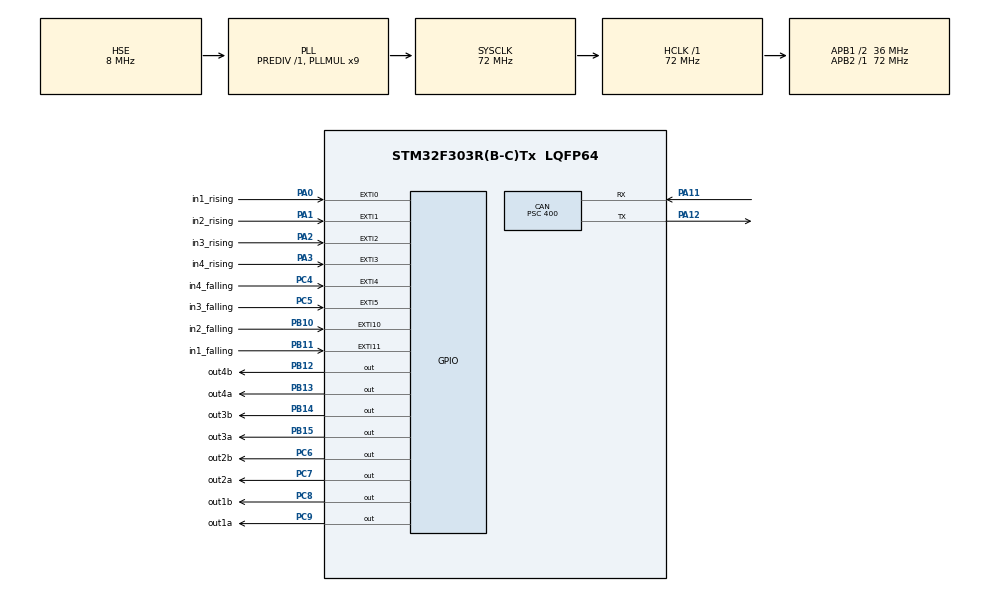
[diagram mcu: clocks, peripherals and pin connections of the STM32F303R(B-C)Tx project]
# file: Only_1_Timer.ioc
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CAN.BS1=CAN_BS1_12TQ
CAN.BS2=CAN_BS2_5TQ
CAN.CalculateTimeQuantum=11111.111111111111
CAN.Prescaler=400
Mcu.Family=STM32F3
Mcu.Name=STM32F303R(B-C)Tx
Mcu.Package=LQFP64
NVIC.EXTI0_IRQn=true\:0\:0\:false\:false\:true\:true
NVIC.EXTI15_10_IRQn=true\:0\:0\:false\:false\:true\:true
NVIC.EXTI1_IRQn=true\:0\:0\:false\:false\:true\:true
NVIC.EXTI2_TSC_IRQn=true\:0\:0\:false\:false\:true\:true
NVIC.EXTI3_IRQn=true\:0\:0\:false\:false\:true\:true
NVIC.EXTI4_IRQn=true\:0\:0\:false\:false\:true\:true
NVIC.EXTI9_5_IRQn=true\:0\:0\:false\:false\:true\:true
NVIC.PriorityGroup=NVIC_PRIORITYGROUP_4
NVIC.TIM1_UP_TIM16_IRQn=true\:0\:0\:false\:false\:true\:true
NVIC.TIM2_IRQn=true\:0\:0\:false\:false\:true\:true
NVIC.USB_LP_CAN_RX0_IRQn=true\:0\:0\:false\:false\:true\:true
PA0.GPIO_Label=in1_rising
PA0.GPIO_ModeDefaultEXTI=GPIO_MODE_IT_RISING
PA0.GPIO_PuPd=GPIO_PULLDOWN
PA0.Signal=GPXTI0
PA1.GPIO_Label=in2_rising
PA1.GPIO_ModeDefaultEXTI=GPIO_MODE_IT_RISING
PA1.GPIO_PuPd=GPIO_PULLDOWN
PA1.Signal=GPXTI1
PA11.Mode=Master
PA11.Signal=CAN_RX
PA12.Mode=Master
PA12.Signal=CAN_TX
PA13.Mode=Serial_Wire
PA13.Signal=SYS_JTMS-SWDIO
PA14.Mode=Serial_Wire
PA14.Signal=SYS_JTCK-SWCLK
PA2.GPIO_Label=in3_rising
PA2.GPIO_ModeDefaultEXTI=GPIO_MODE_IT_RISING
PA2.GPIO_PuPd=GPIO_PULLDOWN
PA2.Signal=GPXTI2
PA3.GPIO_Label=in4_rising
PA3.GPIO_ModeDefaultEXTI=GPIO_MODE_IT_RISING
PA3.GPIO_PuPd=GPIO_PULLDOWN
PA3.Signal=GPXTI3
PB10.GPIO_Label=in2_falling
PB10.GPIO_ModeDefaultEXTI=GPIO_MODE_IT_FALLING
PB10.Signal=GPXTI10
PB11.GPIO_Label=in1_falling
PB11.GPIO_ModeDefaultEXTI=GPIO_MODE_IT_FALLING
PB11.Signal=GPXTI11
PB12.GPIO_Label=out4b
PB12.Signal=GPIO_Output
PB13.GPIO_Label=out4a
PB13.Signal=GPIO_Output
PB14.GPIO_Label=out3b
PB14.Signal=GPIO_Output
PB15.GPIO_Label=out3a
PB15.Signal=GPIO_Output
PC4.GPIO_Label=in4_falling
PC4.GPIO_ModeDefaultEXTI=GPIO_MODE_IT_FALLING
PC4.Signal=GPXTI4
PC5.GPIO_Label=in3_falling
PC5.GPIO_ModeDefaultEXTI=GPIO_MODE_IT_FALLING
PC5.Signal=GPXTI5
PC6.GPIO_Label=out2b
PC6.Signal=GPIO_Output
PC7.GPIO_Label=out2a
PC7.Signal=GPIO_Output
PC8.GPIO_Label=out1b
PC8.Signal=GPIO_Output
PC9.GPIO_Label=out1a
PC9.Signal=GPIO_Output
PF0-OSC_IN.Mode=HSE-External-Oscillator
PF0-OSC_IN.Signal=RCC_OSC_IN
PF1-OSC_OUT.Mode=HSE-External-Oscillator
PF1-OSC_OUT.Signal=RCC_OSC_OUT
ProjectManager.HeapSize=0x200
ProjectManager.StackSize=0x400
ProjectManager.TargetToolchain=MDK-ARM V5
RCC.AHBFreq_Value=72000000
RCC.APB1CLKDivider=RCC_HCLK_DIV2
RCC.APB1Freq_Value=36000000
RCC.APB1TimFreq_Value=72000000
RCC.APB2Freq_Value=72000000
RCC.APB2TimFreq_Value=72000000
RCC.CortexFreq_Value=72000000
RCC.HCLKFreq_Value=72000000
RCC.HSE_VALUE=8000000
RCC.HSI_VALUE=8000000
RCC.LSE_VALUE=32768
RCC.PLLMUL=RCC_PLL_MUL9
RCC.PLLSourceVirtual=RCC_PLLSOURCE_HSE
RCC.SYSCLKFreq_VALUE=72000000
RCC.SYSCLKSourceVirtual=RCC_SYSCLKSOURCE_PLLCLK
RCC.USBFreq_Value=72000000
TIM1.Period=79
TIM1.Prescaler=8
TIM2.Period=79
TIM2.Prescaler=8
VP_TIM1_VS_ClockSourceINT.Mode=Internal
VP_TIM2_VS_ClockSourceINT.Mode=Internal
board=Only_1_Timer

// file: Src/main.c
/**
  ******************************************************************************
    @file           : main.c
    @brief          : Main program body
  ******************************************************************************
  ** This notice applies to any and all portions of this file
    that are not between comment pairs USER CODE BEGIN and
    USER CODE END. Other portions of this file, whether
    inserted by the user or by software development tools
    are owned by their respective copyright owners.

    COPYRIGHT(c) 2019 STMicroelectronics

    Redistribution and use in source and binary forms, with or without modification,
    are permitted provided that the following conditions are met:
      1. Redistributions of source code must retain the above copyright notice,
         this list of conditions and the following disclaimer.
      2. Redistributions in binary form must reproduce the above copyright notice,
         this list of conditions and the following disclaimer in the documentation
         and/or other materials provided with the distribution.
      3. Neither the name of STMicroelectronics nor the names of its contributors
         may be used to endorse or promote products derived from this software
         without specific prior written permission.

    THIS SOFTWARE IS PROVIDED BY THE COPYRIGHT HOLDERS AND CONTRIBUTORS "AS IS"
    AND ANY EXPRESS OR IMPLIED WARRANTIES, INCLUDING, BUT NOT LIMITED TO, THE
    IMPLIED WARRANTIES OF MERCHANTABILITY AND FITNESS FOR A PARTICULAR PURPOSE ARE
    DISCLAIMED. IN NO EVENT SHALL THE COPYRIGHT HOLDER OR CONTRIBUTORS BE LIABLE
    FOR ANY DIRECT, INDIRECT, INCIDENTAL, SPECIAL, EXEMPLARY, OR CONSEQUENTIAL
    DAMAGES (INCLUDING, BUT NOT LIMITED TO, PROCUREMENT OF SUBSTITUTE GOODS OR
    SERVICES; LOSS OF USE, DATA, OR PROFITS; OR BUSINESS INTERRUPTION) HOWEVER
    CAUSED AND ON ANY THEORY OF LIABILITY, WHETHER IN CONTRACT, STRICT LIABILITY,
    OR TORT (INCLUDING NEGLIGENCE OR OTHERWISE) ARISING IN ANY WAY OUT OF THE USE
    OF THIS SOFTWARE, EVEN IF ADVISED OF THE POSSIBILITY OF SUCH DAMAGE.

  ******************************************************************************
*/
#include "main.h"
#include "stm32f3xx_hal.h"

/* USER CODE BEGIN Includes */
#define pattern_a 1
#define pattern_b 0
/* USER CODE END Includes */

CAN_HandleTypeDef hcan;

TIM_HandleTypeDef htim1;
TIM_HandleTypeDef htim2;

/* USER CODE BEGIN PV */
/* Private variables ---------------------------------------------------------*/
CanRxMsgTypeDef CanRx;
CAN_FilterConfTypeDef sFilterConfig;
uint8_t can_rx_int1 = 0;
uint8_t can_rx_int2 = 0;
uint8_t can_rx_int3 = 0;
uint8_t can_rx_int4 = 0;

//package 1
uint8_t n1, n2;
uint16_t B, C, D;
uint8_t B_H, B_L, C_H, C_L, D_H, D_L;

//package 2
uint16_t B1, C1, B2;
uint8_t B1_H, B1_L, C1_H, C1_L, B2_H, B2_L;

//package 3
uint16_t D1;
uint32_t E;
uint8_t D1_H, D1_L, E_HH, E_H, E_L;

//package 4
uint16_t D2, C2;
uint8_t D2_H, D2_L, C2_H, C2_L;
uint8_t choose_mode;

uint8_t flag_in1_falling_a_tim1 = 0;
uint8_t flag_in1_falling_b_tim1 = 0;
uint8_t flag_in1_rising_a_tim1 = 0;
uint8_t flag_in1_rising_b_tim1 = 0;
uint8_t flag_in1_falling_a_tim2 = 0;
uint8_t flag_in1_falling_b_tim2 = 0;
uint8_t flag_in1_rising_a_tim2 = 0;
uint8_t flag_in1_rising_b_tim2 = 0;

uint8_t flag_in2_falling_a_tim1 = 0;
uint8_t flag_in2_falling_b_tim1 = 0;
uint8_t flag_in2_rising_a_tim1 = 0;
uint8_t flag_in2_rising_b_tim1 = 0;
uint8_t flag_in2_falling_a_tim2 = 0;
uint8_t flag_in2_falling_b_tim2 = 0;
uint8_t flag_in2_rising_a_tim2 = 0;
uint8_t flag_in2_rising_b_tim2 = 0;

uint8_t flag_in3_falling_a_tim1 = 0;
uint8_t flag_in3_falling_b_tim1 = 0;
uint8_t flag_in3_rising_a_tim1 = 0;
uint8_t flag_in3_rising_b_tim1 = 0;
uint8_t flag_in3_falling_a_tim2 = 0;
uint8_t flag_in3_falling_b_tim2 = 0;
uint8_t flag_in3_rising_a_tim2 = 0;
uint8_t flag_in3_rising_b_tim2 = 0;

uint8_t flag_in4_falling_a_tim1 = 0;
uint8_t flag_in4_falling_b_tim1 = 0;
uint8_t flag_in4_rising_a_tim1 = 0;
uint8_t flag_in4_rising_b_tim1 = 0;
uint8_t flag_in4_falling_a_tim2 = 0;
uint8_t flag_in4_falling_b_tim2 = 0;
uint8_t flag_in4_rising_a_tim2 = 0;
uint8_t flag_in4_rising_b_tim2 = 0;

uint16_t counter_out1a_tim1 = 0;
uint16_t counter_out1b_tim1_before = 0;
uint16_t counter_out1b_tim1_after = 0;
uint16_t counter_out1a_tim2 = 0;
uint16_t counter_out1b_tim2 = 0;

uint16_t counter_out2a_tim1 = 0;
uint16_t counter_out2b_tim1_before = 0;
uint16_t counter_out2b_tim1_after = 0;
uint16_t counter_out2a_tim2 = 0;
uint16_t counter_out2b_tim2 = 0;

uint16_t counter_out3a_tim1 = 0;
uint16_t counter_out3b_tim1_before = 0;
uint16_t counter_out3b_tim1_after = 0;
uint16_t counter_out3a_tim2 = 0;
uint16_t counter_out3b_tim2 = 0;

uint16_t counter_out4a_tim1 = 0;
uint16_t counter_out4b_tim1_before = 0;
uint16_t counter_out4b_tim1_after = 0;
uint16_t counter_out4a_tim2 = 0;
uint16_t counter_out4b_tim2 = 0;

uint8_t n1_times_tim1_in1 = 0;
uint8_t n2_times_tim1_in1 = 0;
uint8_t n1_times_tim2_in1 = 0;
uint8_t n2_times_tim2_in1 = 0;

uint8_t n1_times_tim1_in2 = 0;
uint8_t n2_times_tim1_in2 = 0;
uint8_t n1_times_tim2_in2 = 0;
uint8_t n2_times_tim2_in2 = 0;

uint8_t n1_times_tim1_in3 = 0;
uint8_t n2_times_tim1_in3 = 0;
uint8_t n1_times_tim2_in3 = 0;
uint8_t n2_times_tim2_in3 = 0;

uint8_t n1_times_tim1_in4 = 0;
uint8_t n2_times_tim1_in4 = 0;
uint8_t n1_times_tim2_in4 = 0;
uint8_t n2_times_tim2_in4 = 0;

/* USER CODE END PV */

void SystemClock_Config(void);
static void MX_GPIO_Init(void);
static void MX_CAN_Init(void);
static void MX_TIM1_Init(void);
static void MX_TIM2_Init(void);

/* USER CODE BEGIN PFP */
/* Private function prototypes -----------------------------------------------*/
static void CAN_FilterConfig(void);
/* USER CODE END PFP */

int main(void)
{

  /* MCU Configuration----------------------------------------------------------*/

  /* Reset of all peripherals, Initializes the Flash interface and the Systick. */
  HAL_Init();

  /* Configure the system clock */
  SystemClock_Config();

  /* Initialize all configured peripherals */
  MX_GPIO_Init();
  MX_CAN_Init();
  MX_TIM1_Init();
  MX_TIM2_Init();
  /* USER CODE BEGIN 2 */

  hcan.pRxMsg = &CanRx;
  CAN_FilterConfig();
  if (HAL_CAN_Receive_IT(&hcan, CAN_FIFO0) != HAL_OK)
  {
    Error_Handler();
  }
  HAL_NVIC_DisableIRQ(in1_falling_EXTI_IRQn);
  HAL_NVIC_DisableIRQ(in1_rising_EXTI_IRQn);
  HAL_NVIC_DisableIRQ(in2_falling_EXTI_IRQn);
  HAL_NVIC_DisableIRQ(in2_rising_EXTI_IRQn);
  HAL_NVIC_DisableIRQ(in3_falling_EXTI_IRQn);
  HAL_NVIC_DisableIRQ(in3_rising_EXTI_IRQn);
  HAL_NVIC_DisableIRQ(in4_falling_EXTI_IRQn);
  HAL_NVIC_DisableIRQ(in4_rising_EXTI_IRQn);
  /* USER CODE END 2 */

  /* Infinite loop */
  /* USER CODE BEGIN WHILE */
  while (1)
  {
    if (can_rx_int1 == 1 && can_rx_int2 == 1 && can_rx_int3 == 1 && can_rx_int4 == 1)
    {
      __HAL_GPIO_EXTI_CLEAR_IT(in1_falling_Pin);
      __HAL_GPIO_EXTI_CLEAR_IT(in1_rising_Pin);
      __HAL_GPIO_EXTI_CLEAR_IT(in2_falling_Pin);
      __HAL_GPIO_EXTI_CLEAR_IT(in2_rising_Pin);
      __HAL_GPIO_EXTI_CLEAR_IT(in3_falling_Pin);
      __HAL_GPIO_EXTI_CLEAR_IT(in3_rising_Pin);
      __HAL_GPIO_EXTI_CLEAR_IT(in4_falling_Pin);
      __HAL_GPIO_EXTI_CLEAR_IT(in4_rising_Pin);

      HAL_NVIC_EnableIRQ(in1_falling_EXTI_IRQn);
      HAL_NVIC_EnableIRQ(in1_rising_EXTI_IRQn);
      HAL_NVIC_EnableIRQ(in2_falling_EXTI_IRQn);
      HAL_NVIC_EnableIRQ(in2_rising_EXTI_IRQn);
      HAL_NVIC_EnableIRQ(in3_falling_EXTI_IRQn);
      HAL_NVIC_EnableIRQ(in3_rising_EXTI_IRQn);
      HAL_NVIC_EnableIRQ(in4_falling_EXTI_IRQn);
      HAL_NVIC_EnableIRQ(in4_rising_EXTI_IRQn);

      can_rx_int1 = 0;
      can_rx_int2 = 0;
      can_rx_int3 = 0;
      can_rx_int4 = 0;

      //n1 = n1,n2 = n2
      B = (B_H << 8) | B_L;
      C = (C_H << 8) | C_L;
      D = (D_H << 8) | D_L;

      B1 = (B1_H << 8) | B1_L;
      C1 = (C1_H << 8) | C1_L;
      B2 = (B2_H << 8) | B2_L;

      D1 = (D1_H << 8) | D1_L;
      E = (E_HH << 16) | (E_H << 8) | E_L;

      D2 = (D2_H << 8) | D2_L;
      C2 = (C2_H << 8) | C2_L;
      //choose_mode = choose_mode

    }
    if (choose_mode == pattern_a)
    {
      HAL_TIM_Base_Start_IT(&htim1);
      HAL_TIM_Base_Stop_IT(&htim2);
    }
    if (choose_mode == pattern_b)
    {
      HAL_TIM_Base_Start_IT(&htim2);
      HAL_TIM_Base_Stop_IT(&htim1);
    }
    /* USER CODE END WHILE */

  }

}

void SystemClock_Config(void)
{

  RCC_OscInitTypeDef RCC_OscInitStruct;
  RCC_ClkInitTypeDef RCC_ClkInitStruct;
  RCC_PeriphCLKInitTypeDef PeriphClkInit;

  /**Initializes the CPU, AHB and APB busses clocks
  */
  RCC_OscInitStruct.OscillatorType = RCC_OSCILLATORTYPE_HSE;
  RCC_OscInitStruct.HSEState = RCC_HSE_ON;
  RCC_OscInitStruct.HSEPredivValue = RCC_HSE_PREDIV_DIV1;
  RCC_OscInitStruct.HSIState = RCC_HSI_ON;
  RCC_OscInitStruct.PLL.PLLState = RCC_PLL_ON;
  RCC_OscInitStruct.PLL.PLLSource = RCC_PLLSOURCE_HSE;
  RCC_OscInitStruct.PLL.PLLMUL = RCC_PLL_MUL9;
  if (HAL_RCC_OscConfig(&RCC_OscInitStruct) != HAL_OK)
  {
    _Error_Handler(__FILE__, __LINE__);
  }

  /**Initializes the CPU, AHB and APB busses clocks
  */
  RCC_ClkInitStruct.ClockType = RCC_CLOCKTYPE_HCLK | RCC_CLOCKTYPE_SYSCLK
                                | RCC_CLOCKTYPE_PCLK1 | RCC_CLOCKTYPE_PCLK2;
  RCC_ClkInitStruct.SYSCLKSource = RCC_SYSCLKSOURCE_PLLCLK;
  RCC_ClkInitStruct.AHBCLKDivider = RCC_SYSCLK_DIV1;
  RCC_ClkInitStruct.APB1CLKDivider = RCC_HCLK_DIV2;
  RCC_ClkInitStruct.APB2CLKDivider = RCC_HCLK_DIV1;

  if (HAL_RCC_ClockConfig(&RCC_ClkInitStruct, FLASH_LATENCY_2) != HAL_OK)
  {
    _Error_Handler(__FILE__, __LINE__);
  }

  PeriphClkInit.PeriphClockSelection = RCC_PERIPHCLK_TIM1;
  PeriphClkInit.Tim1ClockSelection = RCC_TIM1CLK_HCLK;
  if (HAL_RCCEx_PeriphCLKConfig(&PeriphClkInit) != HAL_OK)
  {
    _Error_Handler(__FILE__, __LINE__);
  }

  /**Configure the Systick interrupt time
  */
  HAL_SYSTICK_Config(HAL_RCC_GetHCLKFreq() / 1000);

  /**Configure the Systick
  */
  HAL_SYSTICK_CLKSourceConfig(SYSTICK_CLKSOURCE_HCLK);

  /* SysTick_IRQn interrupt configuration */
  HAL_NVIC_SetPriority(SysTick_IRQn, 0, 0);
}

/* CAN init function */
static void MX_CAN_Init(void)
{

  hcan.Instance = CAN;
  hcan.Init.Prescaler = 400;
  hcan.Init.Mode = CAN_MODE_NORMAL;
  hcan.Init.SJW = CAN_SJW_1TQ;
  hcan.Init.BS1 = CAN_BS1_12TQ;
  hcan.Init.BS2 = CAN_BS2_5TQ;
  hcan.Init.TTCM = DISABLE;
  hcan.Init.ABOM = DISABLE;
  hcan.Init.AWUM = DISABLE;
  hcan.Init.NART = DISABLE;
  hcan.Init.RFLM = DISABLE;
  hcan.Init.TXFP = DISABLE;
  if (HAL_CAN_Init(&hcan) != HAL_OK)
  {
    _Error_Handler(__FILE__, __LINE__);
  }

}

/* TIM1 init function */
static void MX_TIM1_Init(void)
{

  TIM_ClockConfigTypeDef sClockSourceConfig;
  TIM_MasterConfigTypeDef sMasterConfig;

  htim1.Instance = TIM1;
  htim1.Init.Prescaler = 8;
  htim1.Init.CounterMode = TIM_COUNTERMODE_UP;
  htim1.Init.Period = 79;
  htim1.Init.ClockDivision = TIM_CLOCKDIVISION_DIV1;
  htim1.Init.RepetitionCounter = 0;
  htim1.Init.AutoReloadPreload = TIM_AUTORELOAD_PRELOAD_DISABLE;
  if (HAL_TIM_Base_Init(&htim1) != HAL_OK)
  {
    _Error_Handler(__FILE__, __LINE__);
  }

  sClockSourceConfig.ClockSource = TIM_CLOCKSOURCE_INTERNAL;
  if (HAL_TIM_ConfigClockSource(&htim1, &sClockSourceConfig) != HAL_OK)
  {
    _Error_Handler(__FILE__, __LINE__);
  }

  sMasterConfig.MasterOutputTrigger = TIM_TRGO_RESET;
  sMasterConfig.MasterOutputTrigger2 = TIM_TRGO2_RESET;
  sMasterConfig.MasterSlaveMode = TIM_MASTERSLAVEMODE_DISABLE;
  if (HAL_TIMEx_MasterConfigSynchronization(&htim1, &sMasterConfig) != HAL_OK)
  {
    _Error_Handler(__FILE__, __LINE__);
  }

}

/* TIM2 init function */
static void MX_TIM2_Init(void)
{

  TIM_ClockConfigTypeDef sClockSourceConfig;
  TIM_MasterConfigTypeDef sMasterConfig;

  htim2.Instance = TIM2;
  htim2.Init.Prescaler = 8;
  htim2.Init.CounterMode = TIM_COUNTERMODE_UP;
  htim2.Init.Period = 79;
  htim2.Init.ClockDivision = TIM_CLOCKDIVISION_DIV1;
  htim2.Init.AutoReloadPreload = TIM_AUTORELOAD_PRELOAD_DISABLE;
  if (HAL_TIM_Base_Init(&htim2) != HAL_OK)
  {
    _Error_Handler(__FILE__, __LINE__);
  }

  sClockSourceConfig.ClockSource = TIM_CLOCKSOURCE_INTERNAL;
  if (HAL_TIM_ConfigClockSource(&htim2, &sClockSourceConfig) != HAL_OK)
  {
    _Error_Handler(__FILE__, __LINE__);
  }

  sMasterConfig.MasterOutputTrigger = TIM_TRGO_RESET;
  sMasterConfig.MasterSlaveMode = TIM_MASTERSLAVEMODE_DISABLE;
  if (HAL_TIMEx_MasterConfigSynchronization(&htim2, &sMasterConfig) != HAL_OK)
  {
    _Error_Handler(__FILE__, __LINE__);
  }

}

/** Configure pins as
          Analog
          Input
          Output
          EVENT_OUT
          EXTI
*/
static void MX_GPIO_Init(void)
{

  GPIO_InitTypeDef GPIO_InitStruct;

  /* GPIO Ports Clock Enable */
  __HAL_RCC_GPIOF_CLK_ENABLE();
  __HAL_RCC_GPIOA_CLK_ENABLE();
  __HAL_RCC_GPIOC_CLK_ENABLE();
  __HAL_RCC_GPIOB_CLK_ENABLE();

  /*Configure GPIO pin Output Level */
  HAL_GPIO_WritePin(GPIOB, out4b_Pin | out4a_Pin | out3b_Pin | out3a_Pin, GPIO_PIN_RESET);

  /*Configure GPIO pin Output Level */
  HAL_GPIO_WritePin(GPIOC, out2b_Pin | out2a_Pin | out1b_Pin | out1a_Pin, GPIO_PIN_RESET);

  /*Configure GPIO pins : in1_rising_Pin in2_rising_Pin in3_rising_Pin in4_rising_Pin */
  GPIO_InitStruct.Pin = in1_rising_Pin | in2_rising_Pin | in3_rising_Pin | in4_rising_Pin;
  GPIO_InitStruct.Mode = GPIO_MODE_IT_RISING;
  GPIO_InitStruct.Pull = GPIO_PULLDOWN;
  HAL_GPIO_Init(GPIOA, &GPIO_InitStruct);

  /*Configure GPIO pins : in4_falling_Pin in3_falling_Pin */
  GPIO_InitStruct.Pin = in4_falling_Pin | in3_falling_Pin;
  GPIO_InitStruct.Mode = GPIO_MODE_IT_FALLING;
  GPIO_InitStruct.Pull = GPIO_NOPULL;
  HAL_GPIO_Init(GPIOC, &GPIO_InitStruct);

  /*Configure GPIO pins : in2_falling_Pin in1_falling_Pin */
  GPIO_InitStruct.Pin = in2_falling_Pin | in1_falling_Pin;
  GPIO_InitStruct.Mode = GPIO_MODE_IT_FALLING;
  GPIO_InitStruct.Pull = GPIO_NOPULL;
  HAL_GPIO_Init(GPIOB, &GPIO_InitStruct);

  /*Configure GPIO pins : out4b_Pin out4a_Pin out3b_Pin out3a_Pin */
  GPIO_InitStruct.Pin = out4b_Pin | out4a_Pin | out3b_Pin | out3a_Pin;
  GPIO_InitStruct.Mode = GPIO_MODE_OUTPUT_PP;
  GPIO_InitStruct.Pull = GPIO_NOPULL;
  GPIO_InitStruct.Speed = GPIO_SPEED_FREQ_LOW;
  HAL_GPIO_Init(GPIOB, &GPIO_InitStruct);

  /*Configure GPIO pins : out2b_Pin out2a_Pin out1b_Pin out1a_Pin */
  GPIO_InitStruct.Pin = out2b_Pin | out2a_Pin | out1b_Pin | out1a_Pin;
  GPIO_InitStruct.Mode = GPIO_MODE_OUTPUT_PP;
  GPIO_InitStruct.Pull = GPIO_NOPULL;
  GPIO_InitStruct.Speed = GPIO_SPEED_FREQ_LOW;
  HAL_GPIO_Init(GPIOC, &GPIO_InitStruct);

  /* EXTI interrupt init*/
  HAL_NVIC_SetPriority(EXTI0_IRQn, 0, 0);
  HAL_NVIC_EnableIRQ(EXTI0_IRQn);

  HAL_NVIC_SetPriority(EXTI1_IRQn, 0, 0);
  HAL_NVIC_EnableIRQ(EXTI1_IRQn);

  HAL_NVIC_SetPriority(EXTI2_TSC_IRQn, 0, 0);
  HAL_NVIC_EnableIRQ(EXTI2_TSC_IRQn);

  HAL_NVIC_SetPriority(EXTI3_IRQn, 0, 0);
  HAL_NVIC_EnableIRQ(EXTI3_IRQn);

  HAL_NVIC_SetPriority(EXTI4_IRQn, 0, 0);
  HAL_NVIC_EnableIRQ(EXTI4_IRQn);

  HAL_NVIC_SetPriority(EXTI9_5_IRQn, 0, 0);
  HAL_NVIC_EnableIRQ(EXTI9_5_IRQn);

  HAL_NVIC_SetPriority(EXTI15_10_IRQn, 0, 0);
  HAL_NVIC_EnableIRQ(EXTI15_10_IRQn);

}

/* USER CODE BEGIN 4 */
//---------------------------------------------------------------------------------------------------Enable Can Receive
void RxIntEnable(CAN_HandleTypeDef *CanHandle)
{
  if (CanHandle->State == HAL_CAN_STATE_BUSY_TX)
    CanHandle->State = HAL_CAN_STATE_BUSY_TX_RX0;
  else
  {
    CanHandle->State = HAL_CAN_STATE_BUSY_RX0;
    CanHandle->ErrorCode = HAL_CAN_ERROR_NONE;
    __HAL_CAN_ENABLE_IT(CanHandle, CAN_IT_EWG);
    __HAL_CAN_ENABLE_IT(CanHandle, CAN_IT_EPV);
    __HAL_CAN_ENABLE_IT(CanHandle, CAN_IT_BOF);
    __HAL_CAN_ENABLE_IT(CanHandle, CAN_IT_LEC);
    __HAL_CAN_ENABLE_IT(CanHandle, CAN_IT_ERR);
  }
  __HAL_CAN_ENABLE_IT(CanHandle, CAN_IT_FMP0);
}
//---------------------------------------------------------------------------------------------------Init Can Filter
static void CAN_FilterConfig(void)
{
  sFilterConfig.BankNumber = 14;
  sFilterConfig.FilterActivation = ENABLE;
  sFilterConfig.FilterFIFOAssignment = CAN_FILTER_FIFO0;
  sFilterConfig.FilterIdHigh = 0;
  sFilterConfig.FilterIdLow = 0;
  sFilterConfig.FilterMaskIdHigh = 0;
  sFilterConfig.FilterMaskIdLow = 0;
  sFilterConfig.FilterMode = CAN_FILTERMODE_IDMASK;
  sFilterConfig.FilterNumber = 0;
  sFilterConfig.FilterScale = CAN_FILTERSCALE_32BIT;
  if (HAL_CAN_ConfigFilter(&hcan, &sFilterConfig) != HAL_OK)
  {
    Error_Handler();
  }
}
//---------------------------------------------------------------------------------------------------Can Receive Interrupt
void HAL_CAN_RxCpltCallback(CAN_HandleTypeDef* CanHandle)
{
  if (CanHandle->pRxMsg->StdId == 0x101)
  {
    can_rx_int1 = 1;
    n1 = CanHandle->pRxMsg->Data[0];
    n2 = CanHandle->pRxMsg->Data[1];
    B_H = CanHandle->pRxMsg->Data[2];
    B_L = CanHandle->pRxMsg->Data[3];
    C_H = CanHandle->pRxMsg->Data[4];
    C_L = CanHandle->pRxMsg->Data[5];
    D_H = CanHandle->pRxMsg->Data[6];
    D_L = CanHandle->pRxMsg->Data[7];
  }
  if (CanHandle->pRxMsg->StdId == 0x102)
  {
    can_rx_int2 = 1;
    B1_H = CanHandle->pRxMsg->Data[0];
    B1_L = CanHandle->pRxMsg->Data[1];
    C1_H = CanHandle->pRxMsg->Data[2];
    C1_L = CanHandle->pRxMsg->Data[3];
    B2_H = CanHandle->pRxMsg->Data[4];
    B2_L = CanHandle->pRxMsg->Data[5];
  }
  if (CanHandle->pRxMsg->StdId == 0x103)
  {
    can_rx_int3 = 1;
    D1_H = CanHandle->pRxMsg->Data[0];
    D1_L = CanHandle->pRxMsg->Data[1];
    E_HH = CanHandle->pRxMsg->Data[2];
    E_H = CanHandle->pRxMsg->Data[3];
    E_L = CanHandle->pRxMsg->Data[4];
  }
  if (CanHandle->pRxMsg->StdId == 0x104)
  {
    can_rx_int4 = 1;
    D2_H = CanHandle->pRxMsg->Data[0];
    D2_L = CanHandle->pRxMsg->Data[1];
    C2_H = CanHandle->pRxMsg->Data[2];
    C2_L = CanHandle->pRxMsg->Data[3];
    choose_mode = CanHandle->pRxMsg->Data[4];
  }
  RxIntEnable(&hcan);
}
//---------------------------------------------------------------------------------------------------External Interrupt
void HAL_GPIO_EXTI_Callback(uint16_t GPIO_Pin)
{
  if (GPIO_Pin == in1_rising_Pin)
  {
    flag_in1_rising_a_tim1 = 1;
    flag_in1_rising_b_tim1 = 1;
    flag_in1_rising_a_tim2 = 1;
    flag_in1_rising_b_tim2 = 1;
    HAL_GPIO_WritePin(out1a_GPIO_Port, out1a_Pin, 1);
  }
  if (GPIO_Pin == in1_falling_Pin)
  {
    flag_in1_falling_a_tim1 = 1;
    flag_in1_falling_b_tim1 = 1;
    flag_in1_falling_a_tim2 = 1;
    flag_in1_falling_b_tim2 = 1;
    HAL_GPIO_WritePin(out1a_GPIO_Port, out1a_Pin, 0);
  }
  if (GPIO_Pin == in2_rising_Pin)
  {
    flag_in2_rising_a_tim1 = 1;
    flag_in2_rising_b_tim1 = 1;
    flag_in2_rising_a_tim2 = 1;
    flag_in2_rising_b_tim2 = 1;
    HAL_GPIO_WritePin(out2a_GPIO_Port, out2a_Pin, 1);
  }
  if (GPIO_Pin == in2_falling_Pin)
  {
    flag_in2_falling_a_tim1 = 1;
    flag_in2_falling_b_tim1 = 1;
    flag_in2_falling_a_tim2 = 1;
    flag_in2_falling_b_tim2 = 1;
    HAL_GPIO_WritePin(out2a_GPIO_Port, out2a_Pin, 0);
  }
  if (GPIO_Pin == in3_rising_Pin)
  {
    flag_in3_rising_a_tim1 = 1;
    flag_in3_rising_b_tim1 = 1;
    flag_in3_rising_a_tim2 = 1;
    flag_in3_rising_b_tim2 = 1;
    HAL_GPIO_WritePin(out3a_GPIO_Port, out3a_Pin, 1);
  }
  if (GPIO_Pin == in3_falling_Pin)
  {
    flag_in3_falling_a_tim1 = 1;
    flag_in3_falling_b_tim1 = 1;
    flag_in3_falling_a_tim2 = 1;
    flag_in3_falling_b_tim2 = 1;
    HAL_GPIO_WritePin(out3a_GPIO_Port, out3a_Pin, 0);
  }
  if (GPIO_Pin == in4_rising_Pin)
  {
    flag_in4_rising_a_tim1 = 1;
    flag_in4_rising_b_tim1 = 1;
    flag_in4_rising_a_tim2 = 1;
    flag_in4_rising_b_tim2 = 1;
    HAL_GPIO_WritePin(out4a_GPIO_Port, out4a_Pin, 1);
  }
  if (GPIO_Pin == in4_falling_Pin)
  {
    flag_in4_falling_a_tim1 = 1;
    flag_in4_falling_b_tim1 = 1;
    flag_in4_falling_a_tim2 = 1;
    flag_in4_falling_b_tim2 = 1;
    HAL_GPIO_WritePin(out4a_GPIO_Port, out4a_Pin, 0);
  }
}
//---------------------------------------------------------------------------------------------------Timer Interrupt
void HAL_TIM_PeriodElapsedCallback(TIM_HandleTypeDef *htim)
{
  //--------------------------------------------------------------------------Timer 1
  if (htim->Instance == TIM1)
  {
    //-----------------------------------------------------------channel 1
    //------------------------------------------output 1a
    if (flag_in1_falling_a_tim1 == 1)
    {
      if (counter_out1a_tim1 < B / 10)
      {
        HAL_GPIO_WritePin(out1a_GPIO_Port, out1a_Pin, 0);
      }
      if (counter_out1a_tim1 >= B / 10 && counter_out1a_tim1 < (B + C) / 10)
      {
        HAL_GPIO_WritePin(out1a_GPIO_Port, out1a_Pin, 1);
      }
      if (counter_out1a_tim1 == (B + C) / 10)
      {
        counter_out1a_tim1 = UINT16_MAX;
        HAL_GPIO_WritePin(out1a_GPIO_Port, out1a_Pin, 0);
        n1_times_tim1_in1++;
      }
      counter_out1a_tim1++;
      if (n1_times_tim1_in1 == n1)
      {
        counter_out1a_tim1 = 0;
        n1_times_tim1_in1 = 0;
        flag_in1_falling_a_tim1 = 0;
      }
    }
    //------------------------------------------output 1b
    if (flag_in1_rising_b_tim1 == 1)
    {
      if (counter_out1b_tim1_before < D / 10)
      {
        HAL_GPIO_WritePin(out1b_GPIO_Port, out1b_Pin, 0);
      }
      if (counter_out1b_tim1_before == D / 10)
      {
        HAL_GPIO_WritePin(out1b_GPIO_Port, out1b_Pin, 1);
        counter_out1b_tim1_before = UINT16_MAX;
        flag_in1_rising_b_tim1 = 0;
      }
      counter_out1b_tim1_before++;
    }
    if (flag_in1_falling_b_tim1 == 1)
    {
      if (counter_out1b_tim1_after < D / 10)
      {
        HAL_GPIO_WritePin(out1b_GPIO_Port, out1b_Pin, 1);
      }
      if (counter_out1b_tim1_after >= D / 10 && counter_out1b_tim1_after < (D + B) / 10)
      {
        HAL_GPIO_WritePin(out1b_GPIO_Port, out1b_Pin, 0);
      }
      if (counter_out1b_tim1_after >= (D + B) / 10 && counter_out1b_tim1_after < (D + B + C) / 10)
      {
        HAL_GPIO_WritePin(out1b_GPIO_Port, out1b_Pin, 1);
      }
      if (counter_out1b_tim1_after == (D + B + C) / 10)
      {
        counter_out1b_tim1_after = D / 10 - 1;
        HAL_GPIO_WritePin(out1b_GPIO_Port, out1b_Pin, 0);
        n2_times_tim1_in1++;
      }
      counter_out1b_tim1_after++;
      if (n2_times_tim1_in1 == n2)
      {
        counter_out1b_tim1_after = 0;
        n2_times_tim1_in1 = 0;
        flag_in1_falling_b_tim1 = 0;
      }
    }
    //-----------------------------------------------------------channel 2
    //------------------------------------------output 2a
    if (flag_in2_falling_a_tim1 == 1)
    {
      if (counter_out2a_tim1 < B / 10)
      {
        HAL_GPIO_WritePin(out2a_GPIO_Port, out2a_Pin, 0);
      }
      if (counter_out2a_tim1 >= B / 10 && counter_out2a_tim1 < (B + C) / 10)
      {
        HAL_GPIO_WritePin(out2a_GPIO_Port, out2a_Pin, 1);
      }
      if (counter_out2a_tim1 == (B + C) / 10)
      {
        counter_out2a_tim1 = UINT16_MAX;
        HAL_GPIO_WritePin(out2a_GPIO_Port, out2a_Pin, 0);
        n1_times_tim1_in2++;
      }
      counter_out2a_tim1++;
      if (n1_times_tim1_in2 == n1)
      {
        counter_out2a_tim1 = 0;
        n1_times_tim1_in2 = 0;
        flag_in2_falling_a_tim1 = 0;
      }
    }
    //------------------------------------------output 2b
    if (flag_in2_rising_b_tim1 == 1)
    {
      if (counter_out2b_tim1_before < D / 10)
      {
        HAL_GPIO_WritePin(out2b_GPIO_Port, out2b_Pin, 0);
      }
      if (counter_out2b_tim1_before == D / 10)
      {
        HAL_GPIO_WritePin(out2b_GPIO_Port, out2b_Pin, 1);
        counter_out2b_tim1_before = UINT16_MAX;
        flag_in2_rising_b_tim1 = 0;
      }
      counter_out2b_tim1_before++;
    }
    if (flag_in2_falling_b_tim1 == 1)
    {
      if (counter_out2b_tim1_after < D / 10)
      {
        HAL_GPIO_WritePin(out2b_GPIO_Port, out2b_Pin, 1);
      }
      if (counter_out2b_tim1_after >= D / 10 && counter_out2b_tim1_after < (D + B) / 10)
      {
        HAL_GPIO_WritePin(out2b_GPIO_Port, out2b_Pin, 0);
      }
      if (counter_out2b_tim1_after >= (D + B) / 10 && counter_out2b_tim1_after < (D + B + C) / 10)
      {
        HAL_GPIO_WritePin(out2b_GPIO_Port, out2b_Pin, 1);
      }
      if (counter_out2b_tim1_after == (D + B + C) / 10)
      {
       counter_out2b_tim1_after = D / 10 - 1;
        HAL_GPIO_WritePin(out2b_GPIO_Port, out2b_Pin, 0);
        n2_times_tim1_in2++;
      }
      counter_out2b_tim1_after++;
      if (n2_times_tim1_in2 == n2)
      {
        counter_out2b_tim1_after = 0;
        n2_times_tim1_in2 = 0;
        flag_in2_falling_b_tim1 = 0;
      }
    }
    //-----------------------------------------------------------channel 3
    //------------------------------------------output 3a
    if (flag_in3_falling_a_tim1 == 1)
    {
      if (counter_out3a_tim1 < B / 10)
      {
        HAL_GPIO_WritePin(out3a_GPIO_Port, out3a_Pin, 0);
      }
      if (counter_out3a_tim1 >= B / 10 && counter_out3a_tim1 < (B + C) / 10)
      {
        HAL_GPIO_WritePin(out3a_GPIO_Port, out3a_Pin, 1);
      }
      if (counter_out3a_tim1 == (B + C) / 10)
      {
        counter_out3a_tim1 = UINT16_MAX;
        HAL_GPIO_WritePin(out3a_GPIO_Port, out3a_Pin, 0);
        n1_times_tim1_in3++;
      }
      counter_out3a_tim1++;
      if (n1_times_tim1_in3 == n1)
      {
        counter_out3a_tim1 = 0;
        n1_times_tim1_in3 = 0;
        flag_in3_falling_a_tim1 = 0;
      }
    }
    //------------------------------------------output 3b
    if (flag_in3_rising_b_tim1 == 1)
    {
      if (counter_out3b_tim1_before < D / 10)
      {
        HAL_GPIO_WritePin(out3b_GPIO_Port, out3b_Pin, 0);
      }
      if (counter_out3b_tim1_before == D / 10)
      {
        HAL_GPIO_WritePin(out3b_GPIO_Port, out3b_Pin, 1);
        counter_out3b_tim1_before = UINT16_MAX;
        flag_in3_rising_b_tim1 = 0;
      }
      counter_out3b_tim1_before++;
    }
    if (flag_in3_falling_b_tim1 == 1)
    {
      if (counter_out3b_tim1_after < D / 10)
      {
        HAL_GPIO_WritePin(out3b_GPIO_Port, out3b_Pin, 1);
      }
      if (counter_out3b_tim1_after >= D / 10 && counter_out3b_tim1_after < (D + B) / 10)
      {
        HAL_GPIO_WritePin(out3b_GPIO_Port, out3b_Pin, 0);
      }
      if (counter_out3b_tim1_after >= (D + B) / 10 && counter_out3b_tim1_after < (D + B + C) / 10)
      {
        HAL_GPIO_WritePin(out3b_GPIO_Port, out3b_Pin, 1);
      }
      if (counter_out3b_tim1_after == (D + B + C) / 10)
      {
        counter_out3b_tim1_after = D / 10 - 1;
        HAL_GPIO_WritePin(out3b_GPIO_Port, out3b_Pin, 0);
        n2_times_tim1_in3++;
      }
      counter_out3b_tim1_after++;
      if (n2_times_tim1_in3 == n2)
      {
        counter_out3b_tim1_after = 0;
        n2_times_tim1_in3 = 0;
        flag_in3_falling_b_tim1 = 0;
      }
    }
    //-----------------------------------------------------------channel 4
    //------------------------------------------output 4a
    if (flag_in4_falling_a_tim1 == 1)
    {
      if (counter_out4a_tim1 < B / 10)
      {
        HAL_GPIO_WritePin(out4a_GPIO_Port, out4a_Pin, 0);
      }
      if (counter_out4a_tim1 >= B / 10 && counter_out4a_tim1 < (B + C) / 10)
      {
        HAL_GPIO_WritePin(out4a_GPIO_Port, out4a_Pin, 1);
      }
      if (counter_out4a_tim1 == (B + C) / 10)
      {
        counter_out4a_tim1 = UINT16_MAX;
        HAL_GPIO_WritePin(out4a_GPIO_Port, out4a_Pin, 0);
        n1_times_tim1_in4++;
      }
      counter_out4a_tim1++;
      if (n1_times_tim1_in4 == n1)
      {
        counter_out4a_tim1 = 0;
        n1_times_tim1_in4 = 0;
        flag_in4_falling_a_tim1 = 0;
      }
    }
    //------------------------------------------output 3b
    if (flag_in4_rising_b_tim1 == 1)
    {
      if (counter_out4b_tim1_before < D / 10)
      {
        HAL_GPIO_WritePin(out4b_GPIO_Port, out4b_Pin, 0);
      }
      if (counter_out4b_tim1_before == D / 10)
      {
        HAL_GPIO_WritePin(out4b_GPIO_Port, out4b_Pin, 1);
        counter_out4b_tim1_before = UINT16_MAX;
        flag_in4_rising_b_tim1 = 0;
      }
      counter_out4b_tim1_before++;
    }
    if (flag_in4_falling_b_tim1 == 1)
    {
      if (counter_out4b_tim1_after < D / 10)
      {
        HAL_GPIO_WritePin(out4b_GPIO_Port, out4b_Pin, 1);
      }
      if (counter_out4b_tim1_after >= D / 10 && counter_out4b_tim1_after < (D + B) / 10)
      {
        HAL_GPIO_WritePin(out4b_GPIO_Port, out4b_Pin, 0);
      }
      if (counter_out4b_tim1_after >= (D + B) / 10 && counter_out4b_tim1_after < (D + B + C) / 10)
      {
        HAL_GPIO_WritePin(out4b_GPIO_Port, out4b_Pin, 1);
      }
      if (counter_out4b_tim1_after == (D + B + C) / 10)
      {
        counter_out4b_tim1_after = D / 10 - 1;
        HAL_GPIO_WritePin(out4b_GPIO_Port, out4b_Pin, 0);
        n2_times_tim1_in4++;
      }
      counter_out4b_tim1_after++;
      if (n2_times_tim1_in4 == n2)
      {
        counter_out4b_tim1_after = 0;
        n2_times_tim1_in4 = 0;
        flag_in4_falling_b_tim1 = 0;
      }
    }
  }
  //--------------------------------------------------------------------------Timer 2 pattern b
  if (htim->Instance == TIM2)
  {
    //-----------------------------------------------------------output 1a
    if (flag_in1_falling_a_tim2 == 1)
    {
      if (counter_out1a_tim2 < B1 / 10)
      {
        HAL_GPIO_WritePin(out1a_GPIO_Port, out1a_Pin, 0);
      }
      if (counter_out1a_tim2 >= B1 / 10 && counter_out1a_tim2 < (B1 + C1) / 10)
      {
        HAL_GPIO_WritePin(out1a_GPIO_Port, out1a_Pin, 1);
      }
      if (counter_out1a_tim2 >= (B1 + C1) / 10 && counter_out1a_tim2 < (B1 + C1 + B2) / 10)
      {
        HAL_GPIO_WritePin(out1a_GPIO_Port, out1a_Pin, 0);
      }
      if (counter_out1a_tim2 >= (B1 + C1 + B2) / 10 && counter_out1a_tim2 < (B1 + C1 + B2 + C1) / 10)
      {
        HAL_GPIO_WritePin(out1a_GPIO_Port, out1a_Pin, 1);
      }
      if (counter_out1a_tim2 == (B1 + C1 + B2 + C1) / 10)
      {
        counter_out1a_tim2 = (B1 + C1) / 10 - 1;
        HAL_GPIO_WritePin(out1a_GPIO_Port, out1a_Pin, 0);
        n1_times_tim2_in1++;
      }
      counter_out1a_tim2++;
      if (n1_times_tim2_in1 == n1 - 1)
      {
        counter_out1a_tim2 = 0;
        n1_times_tim2_in1 = 0;
        flag_in1_falling_a_tim2 = 0;
      }
    }
    //-----------------------------------------------------------output 1b
    if (flag_in1_falling_b_tim2 == 1)
    {
      if (counter_out1b_tim2 < D1 / 10)
      {
        HAL_GPIO_WritePin(out1b_GPIO_Port, out1b_Pin, 0);
      }
      if (counter_out1b_tim2 >= D1 / 10 && counter_out1b_tim2 < (D1 + E) / 10)
      {
        HAL_GPIO_WritePin(out1b_GPIO_Port, out1b_Pin, 1);
      }
      if (counter_out1b_tim2 >= (D1 + E) / 10 && counter_out1b_tim2 < (B1 + C1 + D2) / 10)
      {
        HAL_GPIO_WritePin(out1b_GPIO_Port, out1b_Pin, 0);
      }
      if (counter_out1b_tim2 >= (B1 + C1 + D2) / 10 && counter_out1b_tim2 < (B1 + C1 + D2 + C2) / 10)
      {
        HAL_GPIO_WritePin(out1b_GPIO_Port, out1b_Pin, 1);
      }
      if (counter_out1b_tim2 >= (B1 + C1 + D2 + C2) / 10 && counter_out1b_tim2 < (B1 + C1 + B2 + C1 + D2) / 10)
      {
        HAL_GPIO_WritePin(out1b_GPIO_Port, out1b_Pin, 0);
      }
      if (counter_out1b_tim2 >= (B1 + C1 + B2 + C1 + D2) / 10 && counter_out1b_tim2 < (B1 + C1 + B2 + C1 + D2 + C2) / 10)
      {
        HAL_GPIO_WritePin(out1b_GPIO_Port, out1b_Pin, 1);
      }
      if (counter_out1b_tim2 == (B1 + C1 + B2 + C1 + D2 + C2) / 10)
      {
        counter_out1b_tim2 = (B1 + C1 + D2 + C2) / 10 - 1;
        n2_times_tim2_in1++;
        HAL_GPIO_WritePin(out1b_GPIO_Port, out1b_Pin, 0);
      }

      counter_out1b_tim2++;
      if (n2_times_tim2_in1 == n2 - 1)
      {
        counter_out1b_tim2 = 0;
        n2_times_tim2_in1 = 0;
        flag_in1_falling_b_tim2 = 0;
      }
    }
    //-----------------------------------------------------------output 2a
    if (flag_in2_falling_a_tim2 == 1)
    {
      if (counter_out2a_tim2 < B1 / 10)
      {
        HAL_GPIO_WritePin(out2a_GPIO_Port, out2a_Pin, 0);
      }
      if (counter_out2a_tim2 >= B1 / 10 && counter_out2a_tim2 < (B1 + C1) / 10)
      {
        HAL_GPIO_WritePin(out2a_GPIO_Port, out2a_Pin, 1);
      }
      if (counter_out2a_tim2 >= (B1 + C1) / 10 && counter_out2a_tim2 < (B1 + C1 + B2) / 10)
      {
        HAL_GPIO_WritePin(out2a_GPIO_Port, out2a_Pin, 0);
      }
      if (counter_out2a_tim2 >= (B1 + C1 + B2) / 10 && counter_out2a_tim2 < (B1 + C1 + B2 + C1) / 10)
      {
        HAL_GPIO_WritePin(out2a_GPIO_Port, out2a_Pin, 1);
      }
      if (counter_out2a_tim2 == (B1 + C1 + B2 + C1) / 10)
      {
        counter_out2a_tim2 = (B1 + C1) / 10 - 1;
        HAL_GPIO_WritePin(out2a_GPIO_Port, out2a_Pin, 0);
        n1_times_tim2_in2++;
      }
      counter_out2a_tim2++;
      if (n1_times_tim2_in2 == n1 - 1)
      {
        counter_out2a_tim2 = 0;
        n1_times_tim2_in2 = 0;
        flag_in2_falling_a_tim2 = 0;
      }
    }
    //-----------------------------------------------------------output 2b
    if (flag_in2_falling_b_tim2 == 1)
    {
      if (counter_out2b_tim2 < D1 / 10)
      {
        HAL_GPIO_WritePin(out2b_GPIO_Port, out2b_Pin, 0);
      }
      if (counter_out2b_tim2 >= D1 / 10 && counter_out2b_tim2 < (D1 + E) / 10)
      {
        HAL_GPIO_WritePin(out2b_GPIO_Port, out2b_Pin, 1);
      }
      if (counter_out2b_tim2 >= (D1 + E) / 10 && counter_out2b_tim2 < (B1 + C1 + D2) / 10)
      {
        HAL_GPIO_WritePin(out2b_GPIO_Port, out2b_Pin, 0);
      }
      if (counter_out2b_tim2 >= (B1 + C1 + D2) / 10 && counter_out2b_tim2 < (B1 + C1 + D2 + C2) / 10)
      {
        HAL_GPIO_WritePin(out2b_GPIO_Port, out2b_Pin, 1);
      }
      if (counter_out2b_tim2 >= (B1 + C1 + D2 + C2) / 10 && counter_out2b_tim2 < (B1 + C1 + B2 + C1 + D2) / 10)
      {
        HAL_GPIO_WritePin(out2b_GPIO_Port, out2b_Pin, 0);
      }
      if (counter_out2b_tim2 >= (B1 + C1 + B2 + C1 + D2) / 10 && counter_out2b_tim2 < (B1 + C1 + B2 + C1 + D2 + C2) / 10)
      {
        HAL_GPIO_WritePin(out2b_GPIO_Port, out2b_Pin, 1);
      }
      if (counter_out2b_tim2 == (B1 + C1 + B2 + C1 + D2 + C2) / 10)
      {
        counter_out2b_tim2 = (B1 + C1 + D2 + C2) / 10 - 1;
        n2_times_tim2_in2++;
        HAL_GPIO_WritePin(out2b_GPIO_Port, out2b_Pin, 0);
      }

      counter_out2b_tim2++;
      if (n2_times_tim2_in2 == n2 - 1)
      {
        counter_out2b_tim2 = 0;
        n2_times_tim2_in2 = 0;
        flag_in2_falling_b_tim2 = 0;
      }
    }
    //-----------------------------------------------------------output 3a
    if (flag_in3_falling_a_tim2 == 1)
    {
      if (counter_out3a_tim2 < B1 / 10)
      {
        HAL_GPIO_WritePin(out3a_GPIO_Port, out3a_Pin, 0);
      }
      if (counter_out3a_tim2 >= B1 / 10 && counter_out3a_tim2 < (B1 + C1) / 10)
      {
        HAL_GPIO_WritePin(out3a_GPIO_Port, out3a_Pin, 1);
      }
      if (counter_out3a_tim2 >= (B1 + C1) / 10 && counter_out3a_tim2 < (B1 + C1 + B2) / 10)
      {
        HAL_GPIO_WritePin(out3a_GPIO_Port, out3a_Pin, 0);
      }
      if (counter_out3a_tim2 >= (B1 + C1 + B2) / 10 && counter_out3a_tim2 < (B1 + C1 + B2 + C1) / 10)
      {
        HAL_GPIO_WritePin(out3a_GPIO_Port, out3a_Pin, 1);
      }
      if (counter_out3a_tim2 == (B1 + C1 + B2 + C1) / 10)
      {
        counter_out3a_tim2 = (B1 + C1) / 10 - 1;
        HAL_GPIO_WritePin(out3a_GPIO_Port, out3a_Pin, 0);
        n1_times_tim2_in3++;
      }
      counter_out3a_tim2++;
      if (n1_times_tim2_in3 == n1 - 1)
      {
        counter_out3a_tim2 = 0;
        n1_times_tim2_in3 = 0;
        flag_in3_falling_a_tim2 = 0;
      }
    }
    //-----------------------------------------------------------output 3b
    if (flag_in3_falling_b_tim2 == 1)
    {
      if (counter_out3b_tim2 < D1 / 10)
      {
        HAL_GPIO_WritePin(out3b_GPIO_Port, out3b_Pin, 0);
      }
      if (counter_out3b_tim2 >= D1 / 10 && counter_out3b_tim2 < (D1 + E) / 10)
      {
        HAL_GPIO_WritePin(out3b_GPIO_Port, out3b_Pin, 1);
      }
      if (counter_out3b_tim2 >= (D1 + E) / 10 && counter_out3b_tim2 < (B1 + C1 + D2) / 10)
      {
        HAL_GPIO_WritePin(out3b_GPIO_Port, out3b_Pin, 0);
      }
      if (counter_out3b_tim2 >= (B1 + C1 + D2) / 10 && counter_out3b_tim2 < (B1 + C1 + D2 + C2) / 10)
      {
        HAL_GPIO_WritePin(out3b_GPIO_Port, out3b_Pin, 1);
      }
      if (counter_out3b_tim2 >= (B1 + C1 + D2 + C2) / 10 && counter_out3b_tim2 < (B1 + C1 + B2 + C1 + D2) / 10)
      {
        HAL_GPIO_WritePin(out3b_GPIO_Port, out3b_Pin, 0);
      }
      if (counter_out3b_tim2 >= (B1 + C1 + B2 + C1 + D2) / 10 && counter_out3b_tim2 < (B1 + C1 + B2 + C1 + D2 + C2) / 10)
      {
        HAL_GPIO_WritePin(out3b_GPIO_Port, out3b_Pin, 1);
      }
      if (counter_out3b_tim2 == (B1 + C1 + B2 + C1 + D2 + C2) / 10)
      {
        counter_out3b_tim2 = (B1 + C1 + D2 + C2) / 10 - 1;
        n2_times_tim2_in3++;
        HAL_GPIO_WritePin(out3b_GPIO_Port, out3b_Pin, 0);
      }

      counter_out3b_tim2++;
      if (n2_times_tim2_in3 == n2 - 1)
      {
        counter_out3b_tim2 = 0;
        n2_times_tim2_in3 = 0;
        flag_in3_falling_b_tim2 = 0;
      }
    }
    //-----------------------------------------------------------output 4a
    if (flag_in4_falling_a_tim2 == 1)
    {
      if (counter_out4a_tim2 < B1 / 10)
      {
        HAL_GPIO_WritePin(out4a_GPIO_Port, out4a_Pin, 0);
      }
      if (counter_out4a_tim2 >= B1 / 10 && counter_out4a_tim2 < (B1 + C1) / 10)
      {
        HAL_GPIO_WritePin(out4a_GPIO_Port, out4a_Pin, 1);
      }
      if (counter_out4a_tim2 >= (B1 + C1) / 10 && counter_out4a_tim2 < (B1 + C1 + B2) / 10)
      {
        HAL_GPIO_WritePin(out4a_GPIO_Port, out4a_Pin, 0);
      }
      if (counter_out4a_tim2 >= (B1 + C1 + B2) / 10 && counter_out4a_tim2 < (B1 + C1 + B2 + C1) / 10)
      {
        HAL_GPIO_WritePin(out4a_GPIO_Port, out4a_Pin, 1);
      }
      if (counter_out4a_tim2 == (B1 + C1 + B2 + C1) / 10)
      {
        counter_out4a_tim2 = (B1 + C1) / 10 - 1;
        HAL_GPIO_WritePin(out4a_GPIO_Port, out4a_Pin, 0);
        n1_times_tim2_in4++;
      }
      counter_out4a_tim2++;
      if (n1_times_tim2_in4 == n1 - 1)
      {
        counter_out4a_tim2 = 0;
        n1_times_tim2_in4 = 0;
        flag_in4_falling_a_tim2 = 0;
      }
    }
    //-----------------------------------------------------------output 4b
    if (flag_in4_falling_b_tim2 == 1)
    {
      if (counter_out4b_tim2 < D1 / 10)
      {
        HAL_GPIO_WritePin(out4b_GPIO_Port, out4b_Pin, 0);
      }
      if (counter_out4b_tim2 >= D1 / 10 && counter_out4b_tim2 < (D1 + E) / 10)
      {
        HAL_GPIO_WritePin(out4b_GPIO_Port, out4b_Pin, 1);
      }
      if (counter_out4b_tim2 >= (D1 + E) / 10 && counter_out4b_tim2 < (B1 + C1 + D2) / 10)
      {
        HAL_GPIO_WritePin(out4b_GPIO_Port, out4b_Pin, 0);
      }
      if (counter_out4b_tim2 >= (B1 + C1 + D2) / 10 && counter_out4b_tim2 < (B1 + C1 + D2 + C2) / 10)
      {
        HAL_GPIO_WritePin(out4b_GPIO_Port, out4b_Pin, 1);
      }
      if (counter_out4b_tim2 >= (B1 + C1 + D2 + C2) / 10 && counter_out4b_tim2 < (B1 + C1 + B2 + C1 + D2) / 10)
      {
        HAL_GPIO_WritePin(out4b_GPIO_Port, out4b_Pin, 0);
      }
      if (counter_out4b_tim2 >= (B1 + C1 + B2 + C1 + D2) / 10 && counter_out4b_tim2 < (B1 + C1 + B2 + C1 + D2 + C2) / 10)
      {
        HAL_GPIO_WritePin(out4b_GPIO_Port, out4b_Pin, 1);
      }
      if (counter_out4b_tim2 == (B1 + C1 + B2 + C1 + D2 + C2) / 10)
      {
       counter_out4b_tim2 = (B1 + C1 + D2 + C2) / 10 - 1;
        n2_times_tim2_in4++;
        HAL_GPIO_WritePin(out4b_GPIO_Port, out4b_Pin, 0);
      }
      counter_out4b_tim2++;
      if (n2_times_tim2_in4 == n2 - 1)
      {
        counter_out4b_tim2 = 0;
        n2_times_tim2_in4 = 0;
        flag_in4_falling_b_tim2 = 0;
      }
    }
  }
}
/* USER CODE END 4 */

void _Error_Handler(char *file, int line)
{
  while (1)
  {
  }
}

/**
    @}
*/

/**
    @}
*/

/************************ (C) COPYRIGHT STMicroelectronics *****END OF FILE****/
